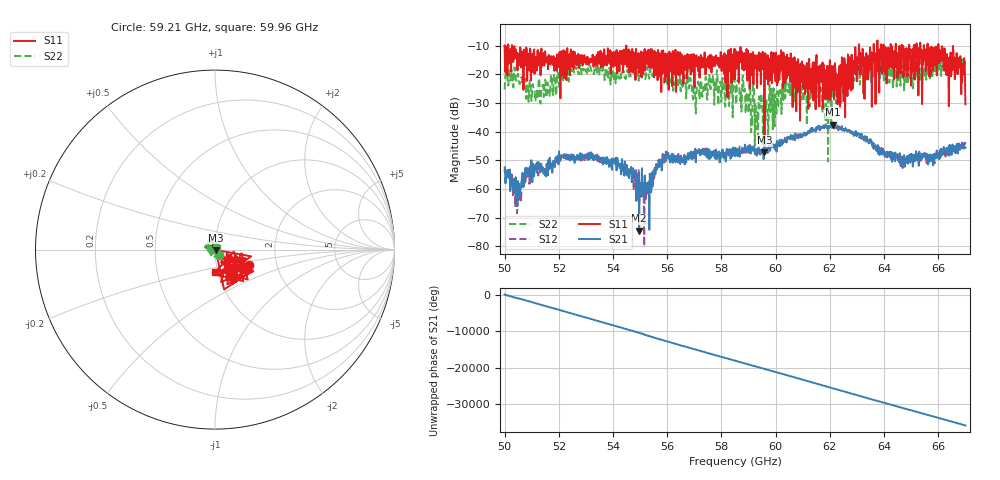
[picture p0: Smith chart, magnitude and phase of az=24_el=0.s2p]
!Created with skrf (http://scikit-rf.org).
# GHz S RI R 50.0
!freq ReS11 ImS11 ReS21 ImS21 ReS12 ImS12 ReS22 ImS22
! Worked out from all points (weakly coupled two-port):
!   1001 points, 50 GHz to 67 GHz, reference 50 ohm
!   highest |S21| = -37.52 dB at 62.12 GHz (marker M1); lowest = -74.5 dB at 54.96 GHz (marker M2)
!   lowest |S11| = -47.2 dB at 59.59 GHz (marker M3), VSWR 1.01, Z = 50.4 - j0.191 ohm
!   |S11| at or under -10 dB: 50.27 GHz to 54.49 GHz (4.215 GHz wide, 8.05 % of centre); 54.49 GHz to 63.07 GHz (8.584 GHz wide, 14.6 % of centre); 66.01 GHz to end of sweep (the widest 3 of 19)
!   |S22| runs from -50.4 to -14.1 dB; largest |S21 - S12| = 0.0019
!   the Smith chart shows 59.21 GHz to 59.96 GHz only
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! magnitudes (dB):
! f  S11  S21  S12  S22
! 50 GHz  -10.0  -53.8  -52.2  -25.3
! 50.53 GHz  -12.9  -58.6  -64.4  -22.3
! 51.14 GHz  -14.1  -52.4  -54.1  -29.4
! 52.84 GHz  -14.1  -47.7  -48.1  -20.1
! 54.15 GHz  -19.5  -49.1  -48.8  -17.9
! 54.96 GHz  -19.5  -74.5  -64.3  -20.8
! 55.22 GHz  -12.1  -60.5  -63.4  -19.2
! 55.68 GHz  -13.6  -51.1  -49.9  -21.9
! 57 GHz  -24.3  -46.8  -47.4  -21.1
! 57.62 GHz  -15.4  -49.0  -48.8  -22.3
! 58.5 GHz  -21.8  -48.5  -47.5  -23.8
! 59.59 GHz  -47.2  -46.4  -48.0  -31.9
! 60.64 GHz  -14.5  -42.2  -41.6  -21.5
! 61.34 GHz  -25.0  -39.9  -38.9  -25.3
! 62.12 GHz  -19.6  -37.5  -38.4  -21.7
! 62.6 GHz  -19.9  -39.1  -39.1  -19.0
! 63.01 GHz  -22.4  -41.3  -40.9  -19.9
! 63.33 GHz  -21.8  -42.6  -42.7  -19.0
! 64.18 GHz  -17.9  -47.2  -47.9  -19.0
! 66.08 GHz  -15.3  -46.7  -48.8  -15.9
! 66.75 GHz  -17.9  -44.3  -45.4  -18.1
! 67 GHz  -30.4  -45.6  -43.6  -15.4
